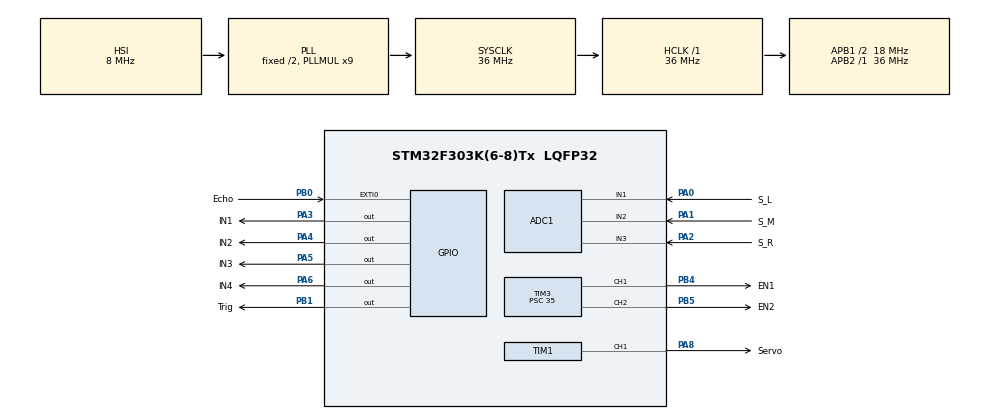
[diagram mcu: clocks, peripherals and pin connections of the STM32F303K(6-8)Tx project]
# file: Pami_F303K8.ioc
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ADC1.Channel-0\#ChannelRegularConversion=ADC_CHANNEL_3
ADC1.Channel-1\#ChannelRegularConversion=ADC_CHANNEL_1
ADC1.Channel-2\#ChannelRegularConversion=ADC_CHANNEL_1
ADC1.NbrOfConversion=3
ADC1.NbrOfConversionFlag=1
ADC1.Offset-0\#ChannelRegularConversion=0
ADC1.Offset-1\#ChannelRegularConversion=0
ADC1.Offset-2\#ChannelRegularConversion=0
ADC1.OffsetNumber-0\#ChannelRegularConversion=ADC_OFFSET_NONE
ADC1.OffsetNumber-1\#ChannelRegularConversion=ADC_OFFSET_NONE
ADC1.OffsetNumber-2\#ChannelRegularConversion=ADC_OFFSET_NONE
ADC1.Rank-0\#ChannelRegularConversion=1
ADC1.Rank-1\#ChannelRegularConversion=2
ADC1.Rank-2\#ChannelRegularConversion=3
ADC1.SamplingTime-0\#ChannelRegularConversion=ADC_SAMPLETIME_181CYCLES_5
ADC1.SamplingTime-1\#ChannelRegularConversion=ADC_SAMPLETIME_181CYCLES_5
ADC1.SamplingTime-2\#ChannelRegularConversion=ADC_SAMPLETIME_181CYCLES_5
ADC1.SamplingTimeOPAMP-1\#ChannelRegularConversion=ADC_SAMPLETIME_7CYCLES_5
ADC1.SamplingTimeOPAMP-2\#ChannelRegularConversion=ADC_SAMPLETIME_7CYCLES_5
ADC1.SubFamily=STM32F303x8
ADC1.master=1
Mcu.Family=STM32F3
Mcu.Name=STM32F303K(6-8)Tx
Mcu.Package=LQFP32
NVIC.ADC1_2_IRQn=true\:0\:0\:false\:false\:true\:true\:true\:true
NVIC.EXTI0_IRQn=true\:0\:0\:false\:false\:true\:true\:true\:true
NVIC.PriorityGroup=NVIC_PRIORITYGROUP_4
PA0.GPIO_Label=S_L
PA0.Mode=IN1-Single-Ended
PA0.Signal=ADC1_IN1
PA1.GPIO_Label=S_M
PA1.Mode=IN2-Single-Ended
PA1.Signal=ADC1_IN2
PA2.GPIO_Label=S_R
PA2.Mode=IN3-Single-Ended
PA2.Signal=ADC1_IN3
PA3.GPIO_Label=IN1
PA3.Signal=GPIO_Output
PA4.GPIO_Label=IN2
PA4.Signal=GPIO_Output
PA5.GPIO_Label=IN3
PA5.Signal=GPIO_Output
PA6.GPIO_Label=IN4
PA6.Signal=GPIO_Output
PA8.GPIO_Label=Servo
PA8.Signal=S_TIM1_CH1
PB0.GPIO_Label=Echo
PB0.GPIO_ModeDefaultEXTI=GPIO_MODE_IT_RISING_FALLING
PB0.Signal=GPXTI0
PB1.GPIO_Label=Trig
PB1.Signal=GPIO_Output
PB4.GPIO_Label=EN1
PB4.Signal=S_TIM3_CH1
PB5.GPIO_Label=EN2
PB5.Signal=S_TIM3_CH2
PF0\ /\ OSC_IN.Mode=HSE-External-Oscillator
PF0\ /\ OSC_IN.Signal=RCC_OSC_IN
PF1\ /\ OSC_OUT.Mode=HSE-External-Oscillator
PF1\ /\ OSC_OUT.Signal=RCC_OSC_OUT
ProjectManager.HeapSize=0x200
ProjectManager.StackSize=0x400
ProjectManager.TargetToolchain=STM32CubeIDE
RCC.AHBFreq_Value=36000000
RCC.APB1CLKDivider=RCC_HCLK_DIV2
RCC.APB1Freq_Value=18000000
RCC.APB1TimFreq_Value=36000000
RCC.APB2Freq_Value=36000000
RCC.APB2TimFreq_Value=36000000
RCC.CortexFreq_Value=36000000
RCC.HCLKFreq_Value=36000000
RCC.HSE_VALUE=8000000
RCC.HSI_VALUE=8000000
RCC.PLLMUL=RCC_PLL_MUL9
RCC.SYSCLKFreq_VALUE=36000000
RCC.SYSCLKSourceVirtual=RCC_SYSCLKSOURCE_PLLCLK
SH.S_TIM1_CH1.0=TIM1_CH1,PWM Generation1 CH1
SH.S_TIM3_CH1.0=TIM3_CH1,PWM Generation1 CH1
SH.S_TIM3_CH2.0=TIM3_CH2,PWM Generation2 CH2
TIM1.Channel-PWM\ Generation1\ CH1=TIM_CHANNEL_1
TIM1.Period=65534
TIM1.Prescaler=35
TIM3.AutoReloadPreload=TIM_AUTORELOAD_PRELOAD_ENABLE
TIM3.Channel-PWM\ Generation1\ CH1=TIM_CHANNEL_1
TIM3.Channel-PWM\ Generation2\ CH2=TIM_CHANNEL_2
TIM3.Period=199
TIM3.Prescaler=35
VP_TIM1_VS_ClockSourceINT.Mode=Internal
VP_TIM3_VS_ClockSourceINT.Mode=Internal
board=custom

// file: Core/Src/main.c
/* USER CODE BEGIN Header */
/**
  ******************************************************************************
  * @file           : main.c
  * @brief          : Main program body
  ******************************************************************************
  * @attention
  *
  * Copyright (c) 2024 STMicroelectronics.
  * All rights reserved.
  *
  * This software is licensed under terms that can be found in the LICENSE file
  * in the root directory of this software component.
  * If no LICENSE file comes with this software, it is provided AS-IS.
  *
  ******************************************************************************
  */
/* USER CODE END Header */
#include "main.h"

/* USER CODE BEGIN Includes */
#include <stdio.h>
#include <string.h>
/* USER CODE END Includes */

ADC_HandleTypeDef hadc1;

TIM_HandleTypeDef htim1;
TIM_HandleTypeDef htim3;

/* USER CODE BEGIN PV */

//For the Radar
#define TRIG_PIN GPIO_PIN_1
#define TRIG_PORT GPIOB
#define ECHO_PIN GPIO_PIN_0
#define ECHO_PORT GPIOB
// Initialize variables for the radar
uint32_t pMillis;
uint32_t Value1 = 0;
uint32_t Value2 = 0;
uint16_t Distance = 0;

/* USER CODE END PV */

void SystemClock_Config(void);
static void MX_GPIO_Init(void);
static void MX_TIM1_Init(void);
static void MX_ADC1_Init(void);
static void MX_TIM3_Init(void);
/* USER CODE BEGIN PFP */
ADC_ChannelConfTypeDef sConfig;
void HAL_GPIO_EXTI_Callback(uint16_t GPIO_Pin)
{
  static int threshold_state, timer_count;
  if((GPIO_Pin == ECHO_PIN)&&(threshold_state==0)){
	  threshold_state =1;
	  timer_count = __HAL_TIM_GET_COUNTER (&htim1);
  }else if((GPIO_Pin==ECHO_PIN) && (threshold_state ==1)){
	  threshold_state = 0;
	  //int time = (__HAL_TIM_GET_COUNTER (&htim1) - timer_count);
	  Distance = (__HAL_TIM_GET_COUNTER (&htim1) - timer_count)*0.034/2;
	  //__HAL_TIM_SET_COUNTER (&htim1, 0);
  }
}
/* USER CODE END PFP */

/* USER CODE BEGIN 0 */

// I couldn't configure the ioc file properly with DMAs, so I'm gonna just manually initialise those each time, here's the functions to do so :
// note: they're copied, slightly modified and pasted from lines 382-409 down this file
void ADC_Select_CH1(void){
	/** Configure Regular Channel
	  */
	sConfig.Channel = ADC_CHANNEL_1;
	sConfig.Rank = 1;
	sConfig.SamplingTime = ADC_SAMPLETIME_181CYCLES_5;
	sConfig.SingleDiff = ADC_SINGLE_ENDED;
	sConfig.OffsetNumber = ADC_OFFSET_NONE;
	sConfig.Offset = 0;
	if (HAL_ADC_ConfigChannel(&hadc1, &sConfig) != HAL_OK)
	{
	  Error_Handler();
	}
}
void ADC_Select_CH2(void){

	  /** Configure Regular Channel
	  */
	  sConfig.Channel = ADC_CHANNEL_2;
	  sConfig.Rank = 1;
	  sConfig.SamplingTime = ADC_SAMPLETIME_181CYCLES_5;
	  sConfig.SingleDiff = ADC_SINGLE_ENDED;
	  sConfig.OffsetNumber = ADC_OFFSET_NONE;
	  sConfig.Offset = 0;
	  if (HAL_ADC_ConfigChannel(&hadc1, &sConfig) != HAL_OK)
	  {
	    Error_Handler();
	  }
}

void ADC_Select_CH3(void){
	/** Configure Regular Channel
		  */
		  sConfig.Channel = ADC_CHANNEL_3;
		  sConfig.Rank = 1;
		  sConfig.SamplingTime = ADC_SAMPLETIME_181CYCLES_5;
		  sConfig.SingleDiff = ADC_SINGLE_ENDED;
		  sConfig.OffsetNumber = ADC_OFFSET_NONE;
		  sConfig.Offset = 0;
		  if (HAL_ADC_ConfigChannel(&hadc1, &sConfig) != HAL_OK)
		  {
		    Error_Handler();
		  }
}

uint16_t ADC_VAL[3]; // Array that stores values of those three line traking sensors

int started_to_turn_right =0;
int started_to_turn_left =0;
/* USER CODE END 0 */

int main(void)
{

  /* MCU Configuration--------------------------------------------------------*/

  /* Reset of all peripherals, Initializes the Flash interface and the Systick. */
  HAL_Init();

  /* Configure the system clock */
  SystemClock_Config();

  /* Initialize all configured peripherals */
  MX_GPIO_Init();
  MX_TIM1_Init();
  MX_ADC1_Init();
  MX_TIM3_Init();
  /* USER CODE BEGIN 2 */
  // For the motors
  HAL_TIM_PWM_Start(&htim3, TIM_CHANNEL_1);
  HAL_TIM_PWM_Start(&htim3, TIM_CHANNEL_2);

  HAL_TIM_Base_Start(&htim1);
  HAL_GPIO_WritePin(TRIG_PORT, TRIG_PIN, GPIO_PIN_RESET); //pull the TRIG pin low
  HAL_ADCEx_Calibration_Start(&hadc1, ADC_SINGLE_ENDED); //for sensors calibration

  int threshold = 500;  //the threshold for line tracking
  //Stop the motor
  HAL_GPIO_WritePin(GPIOA, GPIO_PIN_3, 0);
  HAL_GPIO_WritePin(GPIOA, GPIO_PIN_4, 0);
  HAL_GPIO_WritePin(GPIOA, GPIO_PIN_5, 0);
  HAL_GPIO_WritePin(GPIOA, GPIO_PIN_6, 0);

  int count_time_init =0;
  int count_time_actu =0;

  /* USER CODE END 2 */

  /* Infinite loop */
  /* USER CODE BEGIN WHILE */
  while (1)
  {
    // The code for the radar, it prints the distance
    HAL_GPIO_WritePin(TRIG_PORT, TRIG_PIN, GPIO_PIN_SET); // pull the TRIG pin HIGH
    //__HAL_TIM_SET_COUNTER(&htim1, 0);
    while (__HAL_TIM_GET_COUNTER(&htim1) < 10)
      ;                                                     // wait for 10 us
    HAL_GPIO_WritePin(TRIG_PORT, TRIG_PIN, GPIO_PIN_RESET); // pull the TRIG pin low
    __HAL_TIM_SET_COUNTER(&htim1, 0);

    // Lign tracker part
    ADC_Select_CH1();
    HAL_ADC_Start(&hadc1);
    HAL_ADC_PollForConversion(&hadc1, 1000);
    ADC_VAL[0] = HAL_ADC_GetValue(&hadc1);
    HAL_ADC_Stop(&hadc1);

    ADC_Select_CH2();
    HAL_ADC_Start(&hadc1);
    HAL_ADC_PollForConversion(&hadc1, 1000);
    ADC_VAL[1] = HAL_ADC_GetValue(&hadc1);
    HAL_ADC_Stop(&hadc1);

    ADC_Select_CH3();
    HAL_ADC_Start(&hadc1);
    HAL_ADC_PollForConversion(&hadc1, 1000);
    ADC_VAL[2] = HAL_ADC_GetValue(&hadc1);
    HAL_ADC_Stop(&hadc1);
    // printf("Left : %d, Mid: %d, Right: %d \r\n", ADC_VAL[0], ADC_VAL[1], ADC_VAL[2]);

    if ((ADC_VAL[0] > threshold) && (ADC_VAL[1] > threshold) && (ADC_VAL[2] > threshold) && (Distance > 10))
    {
      // Set the rotation direction forward
      HAL_GPIO_WritePin(GPIOA, GPIO_PIN_3, 1);
      HAL_GPIO_WritePin(GPIOA, GPIO_PIN_4, 0);
      HAL_GPIO_WritePin(GPIOA, GPIO_PIN_5, 1);
      HAL_GPIO_WritePin(GPIOA, GPIO_PIN_6, 0);
      // Set the speed
      __HAL_TIM_SET_COMPARE(&htim3, TIM_CHANNEL_1, 200);
      __HAL_TIM_SET_COMPARE(&htim3, TIM_CHANNEL_2, 200);
      count_time_actu = HAL_GetTick();
      count_time_init = HAL_GetTick();
      started_to_turn_right = 0;
      started_to_turn_left = 0;
    }
    //	  if(((ADC_VAL[0]>threshold) && (ADC_VAL[1]<threshold) && (ADC_VAL[3]<threshold))&&(Distance>10)){//|| (started_to_turn_right==1)
    //  		  //left motor rotate foward
    //	  HAL_GPIO_WritePin(GPIOA, GPIO_PIN_3, 1);
    //	  HAL_GPIO_WritePin(GPIOA, GPIO_PIN_4, 0);
    //	  	  		  //right motor rotate foward
    //	  HAL_GPIO_WritePin(GPIOA, GPIO_PIN_5, 0);
    //	  HAL_GPIO_WritePin(GPIOA, GPIO_PIN_6, 0);
    //  		  // Set the speed
    //	  __HAL_TIM_SET_COMPARE(&htim3,TIM_CHANNEL_1, 150);
    //	  __HAL_TIM_SET_COMPARE(&htim3,TIM_CHANNEL_2, 0);
    //  	  count_time_actu =HAL_GetTick();
    //  	  count_time_init =HAL_GetTick();
    //  	  started_to_turn_right = 1;
    //  }
    //	  if(((ADC_VAL[0]<threshold) && (ADC_VAL[1]<threshold) && (ADC_VAL[3]>threshold))&&(Distance>10)){ //|| (started_to_turn_left==1)
    //	  		  //Stop the left motor
    //		  HAL_GPIO_WritePin(GPIOA, GPIO_PIN_3, 0);
    //		  HAL_GPIO_WritePin(GPIOA, GPIO_PIN_4, 0);
    //	  		  //right motor rotate foward
    //		  HAL_GPIO_WritePin(GPIOA, GPIO_PIN_5, 1);
    //		  HAL_GPIO_WritePin(GPIOA, GPIO_PIN_6, 0);
    //	  		  // Set the speed
    //		  __HAL_TIM_SET_COMPARE(&htim3,TIM_CHANNEL_1, 0);
    //		  __HAL_TIM_SET_COMPARE(&htim3,TIM_CHANNEL_2, 150);
    //	  	  count_time_actu =HAL_GetTick();
    //	  	  count_time_init =HAL_GetTick();
    //	  	  started_to_turn_left = 1;
    //	  }
    if ((ADC_VAL[0] < threshold) && (ADC_VAL[1] < threshold) && (ADC_VAL[3] > threshold) && (Distance > 10))
    { //|| (started_to_turn_right==1)
      // left motor rotate foward
      HAL_GPIO_WritePin(GPIOA, GPIO_PIN_3, 0);
      HAL_GPIO_WritePin(GPIOA, GPIO_PIN_4, 0);
      // right motor rotate foward
      HAL_GPIO_WritePin(GPIOA, GPIO_PIN_5, 1);
      HAL_GPIO_WritePin(GPIOA, GPIO_PIN_6, 0);
      // Set the speed
      __HAL_TIM_SET_COMPARE(&htim3, TIM_CHANNEL_1, 0);
      __HAL_TIM_SET_COMPARE(&htim3, TIM_CHANNEL_2, 200);
      count_time_actu = HAL_GetTick();
      count_time_init = HAL_GetTick();
      started_to_turn_right = 1;
    }
    if ((ADC_VAL[0] > threshold) && (ADC_VAL[1] < threshold) && (ADC_VAL[3] < threshold) && (Distance > 10))
    { //|| (started_to_turn_left==1)
      // Stop the left motor
      HAL_GPIO_WritePin(GPIOA, GPIO_PIN_3, 1);
      HAL_GPIO_WritePin(GPIOA, GPIO_PIN_4, 0);
      // right motor rotate foward
      HAL_GPIO_WritePin(GPIOA, GPIO_PIN_5, 0);
      HAL_GPIO_WritePin(GPIOA, GPIO_PIN_6, 0);
      // Set the speed
      __HAL_TIM_SET_COMPARE(&htim3, TIM_CHANNEL_1, 200);
      __HAL_TIM_SET_COMPARE(&htim3, TIM_CHANNEL_2, 0);
      count_time_actu = HAL_GetTick();
      count_time_init = HAL_GetTick();
      started_to_turn_left = 1;
    }
    //	  else if(((ADC_VAL[0]>threshold) && (ADC_VAL[1]<threshold) && (ADC_VAL[3]<threshold)&&(Distance>10))){//|| (started_to_turn_right==1)
    //	  		  //left motor rotate foward
    //		  HAL_GPIO_WritePin(GPIOA, GPIO_PIN_3, 1);
    //		  HAL_GPIO_WritePin(GPIOA, GPIO_PIN_4, 0);
    //		  	  		  //right motor rotate foward
    //		  HAL_GPIO_WritePin(GPIOA, GPIO_PIN_5, 0);
    //		  HAL_GPIO_WritePin(GPIOA, GPIO_PIN_6, 0);
    //	  		  // Set the speed
    //		  __HAL_TIM_SET_COMPARE(&htim3,TIM_CHANNEL_1, 150);
    //
    //	  	  count_time_actu =HAL_GetTick();
    //	  	  count_time_init =HAL_GetTick();
    //	  	  started_to_turn_right = 1;
    //	  }

    if (Distance < 10)
    {
      // Stop both motors
      HAL_GPIO_WritePin(GPIOA, GPIO_PIN_3, 0);
      HAL_GPIO_WritePin(GPIOA, GPIO_PIN_4, 0);
      HAL_GPIO_WritePin(GPIOA, GPIO_PIN_5, 0);
      HAL_GPIO_WritePin(GPIOA, GPIO_PIN_6, 0);
      __HAL_TIM_SET_COMPARE(&htim3, TIM_CHANNEL_1, 0);
      __HAL_TIM_SET_COMPARE(&htim3, TIM_CHANNEL_2, 0);
      count_time_actu = HAL_GetTick();
      count_time_init = HAL_GetTick();
    }

    //	  if((ADC_VAL[0]<threshold) &&(ADC_VAL[1]<threshold) && (ADC_VAL[2]<threshold)){
    //	    		  //Set the rotation direction forward
    //	   	  count_time_actu = HAL_GetTick();
    //	  	  //if((count_time_actu-count_time_init) !=0){count_time_init =count_time_actu;}
    //	  	  //printf("count_time_init-HAL_GetTick() = %d \r\n",(count_time_actu-count_time_init));
    //	   	  if (count_time_actu-count_time_init >800 ){
    //	    			//Stop both motors
    //					  //printf("jarrrettee \r\n");
    //			  HAL_GPIO_WritePin(GPIOA, GPIO_PIN_3, 0);
    //			  HAL_GPIO_WritePin(GPIOA, GPIO_PIN_4, 0);
    //			  HAL_GPIO_WritePin(GPIOA, GPIO_PIN_5, 0);
    //			  HAL_GPIO_WritePin(GPIOA, GPIO_PIN_6, 0);
    //			  count_time_init = count_time_actu;
    //	  	}
    //	  }
    HAL_Delay(5); // If I don't add this the detection with ultrasound might cause pb with relatively long ditances
    // The sound needs time to travel, here each iteration is 20ms, might be too quick, so HAL_Delay here works just fine.

    /* USER CODE END WHILE */

  }
}

void SystemClock_Config(void)
{
  RCC_OscInitTypeDef RCC_OscInitStruct = {0};
  RCC_ClkInitTypeDef RCC_ClkInitStruct = {0};
  RCC_PeriphCLKInitTypeDef PeriphClkInit = {0};

  /** Initializes the RCC Oscillators according to the specified parameters
  * in the RCC_OscInitTypeDef structure.
  */
  RCC_OscInitStruct.OscillatorType = RCC_OSCILLATORTYPE_HSI;
  RCC_OscInitStruct.HSIState = RCC_HSI_ON;
  RCC_OscInitStruct.HSICalibrationValue = RCC_HSICALIBRATION_DEFAULT;
  RCC_OscInitStruct.PLL.PLLState = RCC_PLL_ON;
  RCC_OscInitStruct.PLL.PLLSource = RCC_PLLSOURCE_HSI;
  RCC_OscInitStruct.PLL.PLLMUL = RCC_PLL_MUL9;
  if (HAL_RCC_OscConfig(&RCC_OscInitStruct) != HAL_OK)
  {
    Error_Handler();
  }

  /** Initializes the CPU, AHB and APB buses clocks
  */
  RCC_ClkInitStruct.ClockType = RCC_CLOCKTYPE_HCLK|RCC_CLOCKTYPE_SYSCLK
                              |RCC_CLOCKTYPE_PCLK1|RCC_CLOCKTYPE_PCLK2;
  RCC_ClkInitStruct.SYSCLKSource = RCC_SYSCLKSOURCE_PLLCLK;
  RCC_ClkInitStruct.AHBCLKDivider = RCC_SYSCLK_DIV1;
  RCC_ClkInitStruct.APB1CLKDivider = RCC_HCLK_DIV2;
  RCC_ClkInitStruct.APB2CLKDivider = RCC_HCLK_DIV1;

  if (HAL_RCC_ClockConfig(&RCC_ClkInitStruct, FLASH_LATENCY_1) != HAL_OK)
  {
    Error_Handler();
  }
  PeriphClkInit.PeriphClockSelection = RCC_PERIPHCLK_TIM1|RCC_PERIPHCLK_ADC12;
  PeriphClkInit.Adc12ClockSelection = RCC_ADC12PLLCLK_DIV1;
  PeriphClkInit.Tim1ClockSelection = RCC_TIM1CLK_HCLK;
  if (HAL_RCCEx_PeriphCLKConfig(&PeriphClkInit) != HAL_OK)
  {
    Error_Handler();
  }
}

static void MX_ADC1_Init(void)
{

  ADC_MultiModeTypeDef multimode = {0};
  ADC_ChannelConfTypeDef sConfig = {0};

  /** Common config
  */
  hadc1.Instance = ADC1;
  hadc1.Init.ClockPrescaler = ADC_CLOCK_ASYNC_DIV1;
  hadc1.Init.Resolution = ADC_RESOLUTION_12B;
  hadc1.Init.ScanConvMode = ADC_SCAN_ENABLE;
  hadc1.Init.ContinuousConvMode = DISABLE;
  hadc1.Init.DiscontinuousConvMode = DISABLE;
  hadc1.Init.ExternalTrigConvEdge = ADC_EXTERNALTRIGCONVEDGE_NONE;
  hadc1.Init.ExternalTrigConv = ADC_SOFTWARE_START;
  hadc1.Init.DataAlign = ADC_DATAALIGN_RIGHT;
  hadc1.Init.NbrOfConversion = 3;
  hadc1.Init.DMAContinuousRequests = DISABLE;
  hadc1.Init.EOCSelection = ADC_EOC_SINGLE_CONV;
  hadc1.Init.LowPowerAutoWait = DISABLE;
  hadc1.Init.Overrun = ADC_OVR_DATA_OVERWRITTEN;
  if (HAL_ADC_Init(&hadc1) != HAL_OK)
  {
    Error_Handler();
  }

  /** Configure the ADC multi-mode
  */
  multimode.Mode = ADC_MODE_INDEPENDENT;
  if (HAL_ADCEx_MultiModeConfigChannel(&hadc1, &multimode) != HAL_OK)
  {
    Error_Handler();
  }

  /** Configure Regular Channel
  */
  sConfig.Channel = ADC_CHANNEL_3;
  sConfig.Rank = ADC_REGULAR_RANK_1;
  sConfig.SingleDiff = ADC_SINGLE_ENDED;
  sConfig.SamplingTime = ADC_SAMPLETIME_181CYCLES_5;
  sConfig.OffsetNumber = ADC_OFFSET_NONE;
  sConfig.Offset = 0;
  if (HAL_ADC_ConfigChannel(&hadc1, &sConfig) != HAL_OK)
  {
    Error_Handler();
  }

  /** Configure Regular Channel
  */
  sConfig.Channel = ADC_CHANNEL_1;
  sConfig.Rank = ADC_REGULAR_RANK_2;
  if (HAL_ADC_ConfigChannel(&hadc1, &sConfig) != HAL_OK)
  {
    Error_Handler();
  }

  /** Configure Regular Channel
  */
  sConfig.Rank = ADC_REGULAR_RANK_3;
  if (HAL_ADC_ConfigChannel(&hadc1, &sConfig) != HAL_OK)
  {
    Error_Handler();
  }

}

static void MX_TIM1_Init(void)
{

  TIM_ClockConfigTypeDef sClockSourceConfig = {0};
  TIM_MasterConfigTypeDef sMasterConfig = {0};
  TIM_OC_InitTypeDef sConfigOC = {0};
  TIM_BreakDeadTimeConfigTypeDef sBreakDeadTimeConfig = {0};

  htim1.Instance = TIM1;
  htim1.Init.Prescaler = 35;
  htim1.Init.CounterMode = TIM_COUNTERMODE_UP;
  htim1.Init.Period = 65534;
  htim1.Init.ClockDivision = TIM_CLOCKDIVISION_DIV1;
  htim1.Init.RepetitionCounter = 0;
  htim1.Init.AutoReloadPreload = TIM_AUTORELOAD_PRELOAD_DISABLE;
  if (HAL_TIM_Base_Init(&htim1) != HAL_OK)
  {
    Error_Handler();
  }
  sClockSourceConfig.ClockSource = TIM_CLOCKSOURCE_INTERNAL;
  if (HAL_TIM_ConfigClockSource(&htim1, &sClockSourceConfig) != HAL_OK)
  {
    Error_Handler();
  }
  if (HAL_TIM_PWM_Init(&htim1) != HAL_OK)
  {
    Error_Handler();
  }
  sMasterConfig.MasterOutputTrigger = TIM_TRGO_RESET;
  sMasterConfig.MasterOutputTrigger2 = TIM_TRGO2_RESET;
  sMasterConfig.MasterSlaveMode = TIM_MASTERSLAVEMODE_DISABLE;
  if (HAL_TIMEx_MasterConfigSynchronization(&htim1, &sMasterConfig) != HAL_OK)
  {
    Error_Handler();
  }
  sConfigOC.OCMode = TIM_OCMODE_PWM1;
  sConfigOC.Pulse = 0;
  sConfigOC.OCPolarity = TIM_OCPOLARITY_HIGH;
  sConfigOC.OCNPolarity = TIM_OCNPOLARITY_HIGH;
  sConfigOC.OCFastMode = TIM_OCFAST_DISABLE;
  sConfigOC.OCIdleState = TIM_OCIDLESTATE_RESET;
  sConfigOC.OCNIdleState = TIM_OCNIDLESTATE_RESET;
  if (HAL_TIM_PWM_ConfigChannel(&htim1, &sConfigOC, TIM_CHANNEL_1) != HAL_OK)
  {
    Error_Handler();
  }
  sBreakDeadTimeConfig.OffStateRunMode = TIM_OSSR_DISABLE;
  sBreakDeadTimeConfig.OffStateIDLEMode = TIM_OSSI_DISABLE;
  sBreakDeadTimeConfig.LockLevel = TIM_LOCKLEVEL_OFF;
  sBreakDeadTimeConfig.DeadTime = 0;
  sBreakDeadTimeConfig.BreakState = TIM_BREAK_DISABLE;
  sBreakDeadTimeConfig.BreakPolarity = TIM_BREAKPOLARITY_HIGH;
  sBreakDeadTimeConfig.BreakFilter = 0;
  sBreakDeadTimeConfig.Break2State = TIM_BREAK2_DISABLE;
  sBreakDeadTimeConfig.Break2Polarity = TIM_BREAK2POLARITY_HIGH;
  sBreakDeadTimeConfig.Break2Filter = 0;
  sBreakDeadTimeConfig.AutomaticOutput = TIM_AUTOMATICOUTPUT_DISABLE;
  if (HAL_TIMEx_ConfigBreakDeadTime(&htim1, &sBreakDeadTimeConfig) != HAL_OK)
  {
    Error_Handler();
  }
  HAL_TIM_MspPostInit(&htim1);

}

static void MX_TIM3_Init(void)
{

  TIM_ClockConfigTypeDef sClockSourceConfig = {0};
  TIM_MasterConfigTypeDef sMasterConfig = {0};
  TIM_OC_InitTypeDef sConfigOC = {0};

  htim3.Instance = TIM3;
  htim3.Init.Prescaler = 35;
  htim3.Init.CounterMode = TIM_COUNTERMODE_UP;
  htim3.Init.Period = 199;
  htim3.Init.ClockDivision = TIM_CLOCKDIVISION_DIV1;
  htim3.Init.AutoReloadPreload = TIM_AUTORELOAD_PRELOAD_ENABLE;
  if (HAL_TIM_Base_Init(&htim3) != HAL_OK)
  {
    Error_Handler();
  }
  sClockSourceConfig.ClockSource = TIM_CLOCKSOURCE_INTERNAL;
  if (HAL_TIM_ConfigClockSource(&htim3, &sClockSourceConfig) != HAL_OK)
  {
    Error_Handler();
  }
  if (HAL_TIM_PWM_Init(&htim3) != HAL_OK)
  {
    Error_Handler();
  }
  sMasterConfig.MasterOutputTrigger = TIM_TRGO_RESET;
  sMasterConfig.MasterSlaveMode = TIM_MASTERSLAVEMODE_DISABLE;
  if (HAL_TIMEx_MasterConfigSynchronization(&htim3, &sMasterConfig) != HAL_OK)
  {
    Error_Handler();
  }
  sConfigOC.OCMode = TIM_OCMODE_PWM1;
  sConfigOC.Pulse = 0;
  sConfigOC.OCPolarity = TIM_OCPOLARITY_HIGH;
  sConfigOC.OCFastMode = TIM_OCFAST_DISABLE;
  if (HAL_TIM_PWM_ConfigChannel(&htim3, &sConfigOC, TIM_CHANNEL_1) != HAL_OK)
  {
    Error_Handler();
  }
  if (HAL_TIM_PWM_ConfigChannel(&htim3, &sConfigOC, TIM_CHANNEL_2) != HAL_OK)
  {
    Error_Handler();
  }
  HAL_TIM_MspPostInit(&htim3);

}

static void MX_GPIO_Init(void)
{
  GPIO_InitTypeDef GPIO_InitStruct = {0};

  /* GPIO Ports Clock Enable */
  __HAL_RCC_GPIOF_CLK_ENABLE();
  __HAL_RCC_GPIOA_CLK_ENABLE();
  __HAL_RCC_GPIOB_CLK_ENABLE();

  /*Configure GPIO pin Output Level */
  HAL_GPIO_WritePin(GPIOA, IN1_Pin|IN2_Pin|IN3_Pin|IN4_Pin, GPIO_PIN_RESET);

  /*Configure GPIO pin Output Level */
  HAL_GPIO_WritePin(Trig_GPIO_Port, Trig_Pin, GPIO_PIN_RESET);

  /*Configure GPIO pins : IN1_Pin IN2_Pin IN3_Pin IN4_Pin */
  GPIO_InitStruct.Pin = IN1_Pin|IN2_Pin|IN3_Pin|IN4_Pin;
  GPIO_InitStruct.Mode = GPIO_MODE_OUTPUT_PP;
  GPIO_InitStruct.Pull = GPIO_NOPULL;
  GPIO_InitStruct.Speed = GPIO_SPEED_FREQ_LOW;
  HAL_GPIO_Init(GPIOA, &GPIO_InitStruct);

  /*Configure GPIO pin : Echo_Pin */
  GPIO_InitStruct.Pin = Echo_Pin;
  GPIO_InitStruct.Mode = GPIO_MODE_IT_RISING_FALLING;
  GPIO_InitStruct.Pull = GPIO_NOPULL;
  HAL_GPIO_Init(Echo_GPIO_Port, &GPIO_InitStruct);

  /*Configure GPIO pin : Trig_Pin */
  GPIO_InitStruct.Pin = Trig_Pin;
  GPIO_InitStruct.Mode = GPIO_MODE_OUTPUT_PP;
  GPIO_InitStruct.Pull = GPIO_NOPULL;
  GPIO_InitStruct.Speed = GPIO_SPEED_FREQ_LOW;
  HAL_GPIO_Init(Trig_GPIO_Port, &GPIO_InitStruct);

  /* EXTI interrupt init*/
  HAL_NVIC_SetPriority(EXTI0_IRQn, 0, 0);
  HAL_NVIC_EnableIRQ(EXTI0_IRQn);

}

void Error_Handler(void)
{
  __disable_irq();
  while (1)
  {
  }
}
